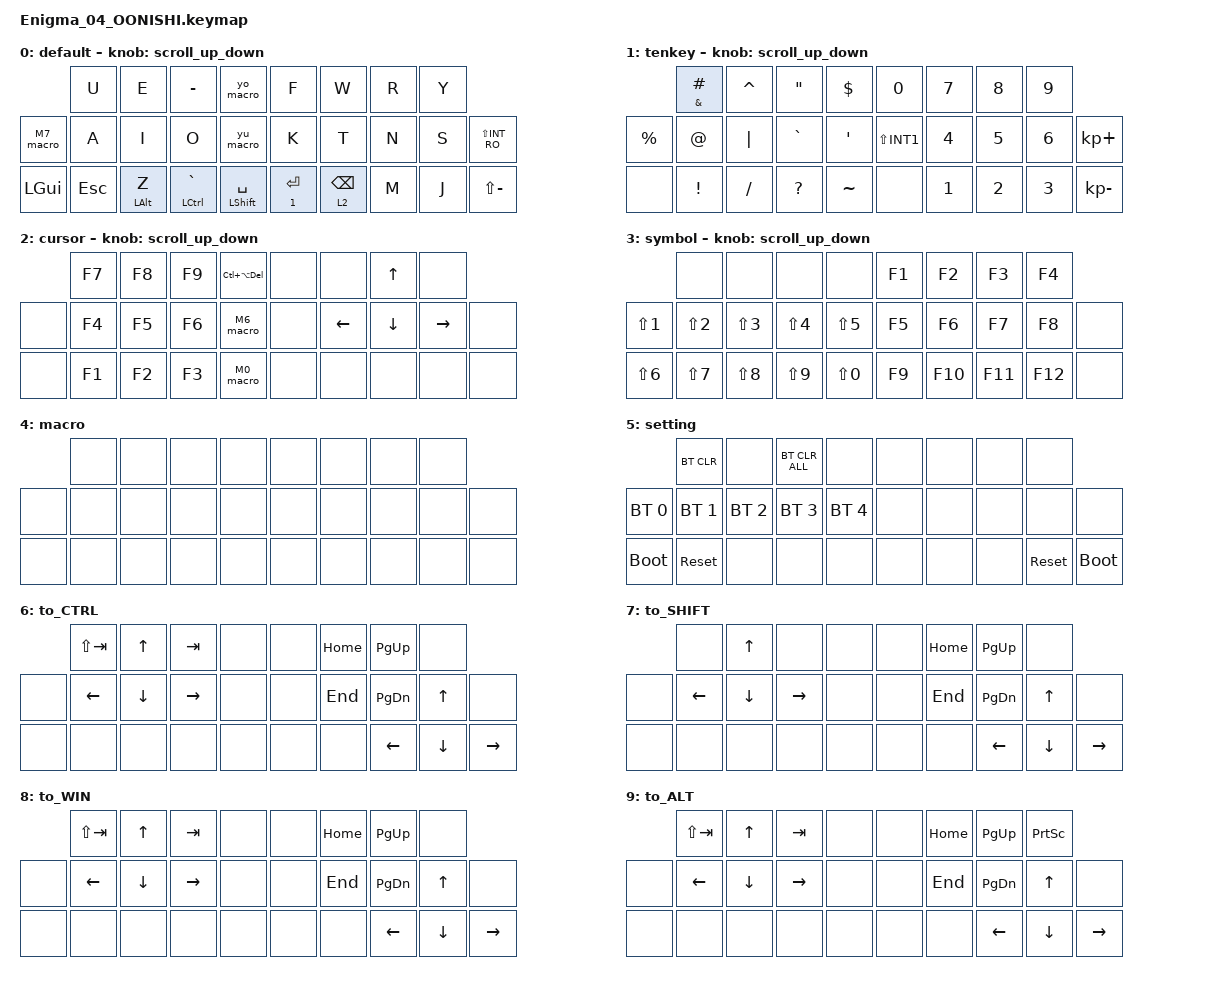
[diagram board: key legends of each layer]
#include <behaviors.dtsi>
#include <dt-bindings/zmk/bt.h>
#include <dt-bindings/zmk/keys.h>
#include <dt-bindings/zmk/pointing.h>

#undef ZMK_POINTING_DEFAULT_SCRL_VAL

#define ZMK_POINTING_DEFAULT_SCRL_VAL 100

/ {
    // zmk-listeners

    layer_listeners {
        compatible = "zmk,layer-listeners";

        release_ctrl {
            layers = <6>;
            bindings = <&kt_on LCTRL &kt_off LCTRL>;
        };

        release_shift {
            layers = <7>;
            bindings = <&kt_on LEFT_SHIFT &kt_off LEFT_SHIFT>;
        };

        release_win {
            layers = <8>;
            bindings = <&kt_on LEFT_WIN &kt_off LEFT_WIN>;
        };

        release_alt {
            layers = <9>;
            bindings = <&kt_on LEFT_ALT &kt_off LEFT_ALT>;
        };
    };

    macros {
        // zmk-listeners
        // zmk-listeners

        ya_macro: ya_macro {
            compatible = "zmk,behavior-macro";
            #binding-cells = <0>;
            bindings = <&kp Y &kp A>;
            label = "YA_MACRO";
        };

        yu_macro: yu_macro {
            compatible = "zmk,behavior-macro";
            #binding-cells = <0>;
            bindings = <&kp Y &kp U>;
            label = "YU_MACRO";
        };

        yo_macro: yo_macro {
            compatible = "zmk,behavior-macro";
            #binding-cells = <0>;
            bindings = <&kp Y &kp O>;
            label = "YO_MACRO";
        };

        M0_macro: M0_macro {
            compatible = "zmk,behavior-macro";
            #binding-cells = <0>;
            bindings = <&kp NUMBER_4 &kp NUMBER_1 &kp N0 &kp NUMBER_3 &kp LS(Y) &kp O &kp I &kp O &kp M &kp LS(I)>;
            label = "M0_MACRO";
        };

        M6_macro: M6_macro {
            compatible = "zmk,behavior-macro";
            #binding-cells = <0>;
            bindings = <&kp LS(U) &kp NUMBER_3 &kp NUMBER_9 &kp NUMBER_4 &kp NUMBER_7 &kp NUMBER_3 &kp NUMBER_7 &kp TAB>;
            label = "M6_MACRO";
        };

        M7_macro: new_macro {
            compatible = "zmk,behavior-macro";
            #binding-cells = <0>;
            bindings = <&kp LS(M) &kp NUMBER_2 &kp NUMBER_0 &kp NUMBER_8 &kp NUMBER_3 &kp NUMBER_7 &kp NUMBER_6 &kp TAB>;
            label = "NEW_MACRO";
        };
    };

    behaviors {
        // Layout shift

        original_key_press: original_key_press {
            compatible = "zmk,behavior-key-press";
            #binding-cells = <1>;
            label = "KEY_PRESS";
        };

        // Layout shift

        kp: key_press {
            compatible = "zmk,behavior-layout-shift-key-press";
            #binding-cells = <1>;
            label = "LAYOUT_SHIFT_KEY_PRESS";
        };

        // zmk-listeners

        kt_on: key_toggle_on_only {
            compatible = "zmk,behavior-key-toggle";
            #binding-cells = <1>;
            display-name = "Key Toggle On";
            toggle-mode = "on";
        };

        // zmk-listeners

        kt_off: key_toggle_off_only {
            compatible = "zmk,behavior-key-toggle";
            #binding-cells = <1>;
            display-name = "Key Toggle Off";
            toggle-mode = "off";
        };

        // zmk-listeners
        // rotary encoder

        scroll_up_down: mouse_wheel_up_down {
            compatible = "zmk,behavior-sensor-rotate";
            #sensor-binding-cells = <0>;
            bindings = <&msc SCRL_UP>, <&msc SCRL_DOWN>;

            tap-ms = <50>;
        };

        // rotary encoder

        scroll_left_right: mouse_wheel_left_right {
            compatible = "zmk,behavior-sensor-rotate";
            #sensor-binding-cells = <0>;
            bindings = <&msc SCRL_LEFT>, <&msc SCRL_RIGHT>;

            tap-ms = <50>;
        };

        // rotary encoder

        arrow_left_right: arrow_left_right {
            compatible = "zmk,behavior-sensor-rotate";
            #sensor-binding-cells = <0>;
            bindings = <&kp LEFT>, <&kp RIGHT>;

            tap-ms = <50>;
        };

        // rotary encoder

        arrow_up_down: arrow_up_down {
            compatible = "zmk,behavior-sensor-rotate";
            #sensor-binding-cells = <0>;
            bindings = <&kp UP>, <&kp DOWN>;

            tap-ms = <50>;
        };

        // rotary encoder

        page_up_down: page_up_down {
            compatible = "zmk,behavior-sensor-rotate";
            #sensor-binding-cells = <0>;
            bindings = <&kp PAGE_UP>, <&kp PAGE_DOWN>;

            tap-ms = <50>;
        };

        td1: td_hz_mo_kn {
            compatible = "zmk,behavior-tap-dance";
            label = "TD_HZ_MO_KN";
            #binding-cells = <0>;
            bindings = <&lt 9 TILDE>;
        };

        td2: td_f7_mo_f8 {
            compatible = "zmk,behavior-tap-dance";
            label = "TD_F7_MO_F8";
            #binding-cells = <0>;
            bindings = <&lt 9 F7>, <&kp F8>;
        };

        td3: td_space_mo_slash {
            compatible = "zmk,behavior-tap-dance";
            label = "TD_SPACE_MO_SLASH";
            #binding-cells = <0>;
            bindings = <&lt 1 SPACE>, <&kp SLASH>;
        };

        td4: coron_semicoron {
            compatible = "zmk,behavior-tap-dance";
            label = "TD_COLON_SEMICOLON";
            #binding-cells = <0>;
            bindings = <&kp COLON>, <&kp SEMICOLON>;
        };

        Ctl: td_ctrl_toctrl {
            compatible = "zmk,behavior-tap-dance";
            label = "td_CTRL_TOCTRL";
            #binding-cells = <0>;
            bindings = <&kp LCTRL>, <&mo 6>;
        };

        WIN: td_win_towin {
            compatible = "zmk,behavior-tap-dance";
            label = "TD_WIN_TOWIN";
            #binding-cells = <0>;
            bindings = <&kp LEFT_WIN>, <&mo 8>;
        };

        Sft: td_shift_toshift {
            compatible = "zmk,behavior-tap-dance";
            label = "TD_SHIFT_TOSHIFT";
            #binding-cells = <0>;
            bindings = <&kp LEFT_SHIFT>, <&mo 7>;
        };

        ALT: td_alt_toalt {
            compatible = "zmk,behavior-tap-dance";
            label = "TD_ALT_TOALT";
            #binding-cells = <0>;
            bindings = <&kp LEFT_ALT>, <&mo 9>;
        };

        lt_combo: lt_combo {
            compatible = "zmk,behavior-hold-tap";
            label = "LT_COMBO";
            bindings = <&lt>, <&kp>;

            #binding-cells = <2>;
            flavor = "tap-preferred";
            tapping-term-ms = <200>;
            require-prior-idle-ms = <150>;
        };
    };

    combos {
        compatible = "zmk,combos";

        c1 {
            bindings = <&kp LC(C)>;
            key-positions = <9 10>;
            layers = <0>;
        };

        c2 {
            bindings = <&kp LC(V)>;
            key-positions = <10 11>;
            layers = <0>;
        };

        c3 {
            bindings = <&kp LC(X)>;
            key-positions = <9 11>;
            layers = <0>;
        };

        c4 {
            bindings = <&kp LC(Z)>;
            key-positions = <9 10 11>;
            layers = <0>;
        };

        c5 {
            bindings = <&kp H>;
            key-positions = <14 6>;
            layers = <0>;
        };

        c6 {
            bindings = <&kp P>;
            key-positions = <14 7>;
            layers = <0>;
        };

        c7 {
            bindings = <&kp B>;
            key-positions = <14 26>;
            layers = <0>;
        };

        c10 {
            bindings = <&kp SLASH>;
            key-positions = <24 25>;
            layers = <1>;
        };

        c11 {
            bindings = <&kp KP_ASTERISK>;
            key-positions = <25 26>;
            layers = <1>;
        };

        c12 {
            bindings = <&kp Q>;
            key-positions = <19 20>;
            layers = <0>;
        };

        c13 {
            bindings = <&kp C>;
            key-positions = <20 21>;
            layers = <0>;
        };

        c14 {
            bindings = <&kp L>;
            key-positions = <19 21>;
            layers = <0>;
        };

        c15 {
            bindings = <&kp V>;
            key-positions = <19 20 21>;
            layers = <0>;
        };

        c16 {
            bindings = <&kp COMMA>;
            key-positions = <14 15>;
            layers = <0>;
        };

        c17 {
            bindings = <&kp PERIOD>;
            key-positions = <15 16>;
            layers = <0>;
        };

        c18 {
            bindings = <&kp D>;
            key-positions = <24 15>;
            layers = <0>;
        };

        c19 {
            bindings = <&ya_macro>;
            key-positions = <22 11>;
            layers = <0>;
        };

        c20 {
            bindings = <&kp X>;
            key-positions = <21 10>;
            layers = <0>;
        };

        c21 {
            bindings = <&kp TAB>;
            key-positions = <21 22>;
            layers = <0>;
        };

        c22 {
            bindings = <&kp DEL>;
            key-positions = <6 7>;
            layers = <0>;
        };

        c23 {
            bindings = <&kp RBKT>;
            key-positions = <0 1>;
            layers = <0>;
        };

        c24 {
            bindings = <&kp BACKSLASH>;
            key-positions = <1 2>;
            layers = <0>;
        };

        c25 {
            bindings = <&kp LS(NUMBER_8)>;
            key-positions = <0 2>;
            layers = <0>;
        };

        c26 {
            bindings = <&kp LS(NUMBER_9)>;
            key-positions = <0 1 2>;
            layers = <0>;
        };

        c27 {
            bindings = <&kp SINGLE_QUOTE>;
            key-positions = <2 3>;
            layers = <0>;
        };

        c28 {
            bindings = <&kp G>;
            key-positions = <14 23>;
            layers = <0>;
        };
    };

    keymap {
        compatible = "zmk,keymap";

        default {
            bindings = <
              &kp U    &kp E           &kp MINUS        &yo_macro             &kp F              &kp W            &kp R  &kp Y
&M7_macro     &kp A    &kp I           &kp O            &yu_macro             &kp K              &kp T            &kp N  &kp S  &kp LS(INT_RO)
&kp LEFT_GUI  &kp ESC  &mt LEFT_ALT Z  &mt LCTRL GRAVE  &mt LEFT_SHIFT SPACE  &lt_combo 1 ENTER  &lt 2 BACKSPACE  &kp M  &kp J  &kp LS(MINUS)
            >;

            sensor-bindings = <&scroll_up_down>;
        };

        tenkey {
            bindings = <
             &mt AMPS HASH  &kp CARET  &kp DQT    &kp DLLR          &kp NUMBER_0  &kp NUMBER_7  &kp NUMBER_8  &kp NUMBER_9
&kp PERCENT  &kp AT         &kp PIPE   &kp GRAVE  &kp SINGLE_QUOTE  &kp LS(INT1)  &kp NUMBER_4  &kp NUMBER_5  &kp NUMBER_6  &kp KP_PLUS
&none        &kp EXCL       &kp FSLH   &kp QMARK  &kp TILDE         &none         &kp NUMBER_1  &kp NUMBER_2  &kp NUMBER_3  &kp KP_MINUS
            >;

            sensor-bindings = <&scroll_up_down>;
        };

        cursor {
            bindings = <
       &kp F7  &kp F8  &kp F9  &kp LC(LA(DEL))  &none  &none     &kp UP_ARROW  &none
&none  &kp F4  &kp F5  &kp F6  &M6_macro        &none  &kp LEFT  &kp DOWN      &kp RIGHT  &none
&none  &kp F1  &kp F2  &kp F3  &M0_macro        &none  &none     &none         &none      &none
            >;

            sensor-bindings = <&scroll_up_down>;
        };

        symbol {
            bindings = <
            &none       &none       &none       &none       &kp F1  &kp F2   &kp F3   &kp F4
&kp LS(N1)  &kp LS(N2)  &kp LS(N3)  &kp LS(N4)  &kp LS(N5)  &kp F5  &kp F6   &kp F7   &kp F8   &none
&kp LS(N6)  &kp LS(N7)  &kp LS(N8)  &kp LS(N9)  &kp LS(N0)  &kp F9  &kp F10  &kp F11  &kp F12  &none
            >;

            sensor-bindings = <&scroll_up_down>;
        };

        macro {
            bindings = <
       &none  &none  &none  &none  &none  &none  &none  &none
&none  &none  &none  &none  &none  &none  &none  &none  &none  &none
&none  &none  &none  &none  &none  &none  &none  &none  &none  &none
            >;
        };

        setting {
            bindings = <
              &bt BT_CLR    &none         &bt BT_CLR_ALL  &none         &none  &none  &none  &none
&bt BT_SEL 0  &bt BT_SEL 1  &bt BT_SEL 2  &bt BT_SEL 3    &bt BT_SEL 4  &none  &none  &none  &none       &none
&bootloader   &sys_reset    &none         &none           &none         &none  &none  &none  &sys_reset  &bootloader
            >;
        };

        to_CTRL {
            bindings = <
       &kp LS(TAB)  &kp UP    &kp TAB    &none  &none  &kp HOME  &kp PAGE_UP    &none
&none  &kp LEFT     &kp DOWN  &kp RIGHT  &none  &none  &kp END   &kp PAGE_DOWN  &kp UP    &none
&none  &none        &none     &none      &none  &none  &none     &kp LEFT       &kp DOWN  &kp RIGHT
            >;
        };

        to_SHIFT {
            bindings = <
       &none     &kp UP    &none      &none  &none  &kp HOME  &kp PAGE_UP    &none
&none  &kp LEFT  &kp DOWN  &kp RIGHT  &none  &none  &kp END   &kp PAGE_DOWN  &kp UP    &none
&none  &none     &none     &none      &none  &none  &none     &kp LEFT       &kp DOWN  &kp RIGHT
            >;
        };

        to_WIN {
            bindings = <
       &kp LS(TAB)  &kp UP    &kp TAB    &none  &none  &kp HOME  &kp PAGE_UP    &none
&none  &kp LEFT     &kp DOWN  &kp RIGHT  &none  &none  &kp END   &kp PAGE_DOWN  &kp UP    &none
&none  &none        &none     &none      &none  &none  &none     &kp LEFT       &kp DOWN  &kp RIGHT
            >;
        };

        to_ALT {
            bindings = <
       &kp LS(TAB)  &kp UP    &kp TAB    &none  &none  &kp HOME  &kp PAGE_UP    &kp PRINTSCREEN
&none  &kp LEFT     &kp DOWN  &kp RIGHT  &none  &none  &kp END   &kp PAGE_DOWN  &kp UP           &none
&none  &none        &none     &none      &none  &none  &none     &kp LEFT       &kp DOWN         &kp RIGHT
            >;
        };
    };
};
